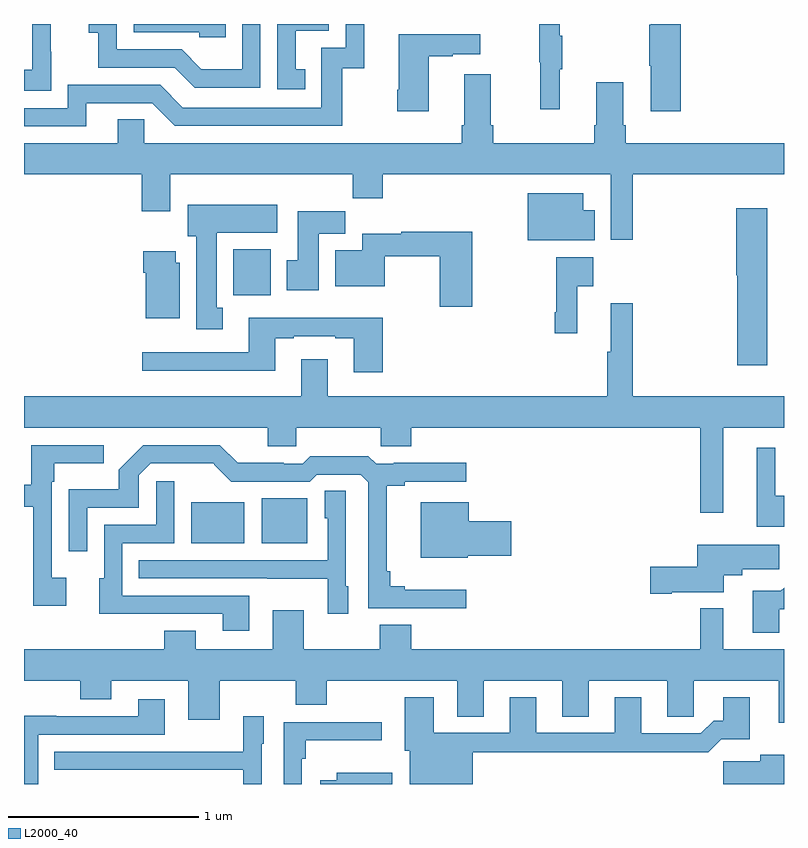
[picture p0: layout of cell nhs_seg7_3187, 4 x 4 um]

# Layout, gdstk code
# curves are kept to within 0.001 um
import gdstk
lib = gdstk.Library(unit=1e-6, precision=1e-09)
def R(c, l, rs):  # rectangles x0, y0, x1, y1
    for r in rs: c.add(gdstk.rectangle(r[:2], r[2:], *l))
def P(c, l, *ps):  # polygons
    for p in ps: c.add(gdstk.Polygon(p, *l))
L2000_40 = (2000, 40)

nhs_seg7_3187 = lib.new_cell('nhs_seg7_3187')
R(nhs_seg7_3187, L2000_40, [(313.88,1073.267,314.158,1073.482), (314.252,1073.267,314.491,1073.503), (314.102,1074.572,314.299,1074.814)])
P(nhs_seg7_3187, L2000_40, [(316.457,1076),(316.298,1076),(316.298,1075.997),(316.291,1075.997),(316.291,1075.78),(316.298,1075.78),(316.298,1075.542),(316.457,1075.542)],
  [(313.327,1075.584),(313.674,1075.584),(313.794,1075.464),(314.674,1075.464),(314.674,1075.767),(314.792,1075.767),(314.792,1076),(314.694,1076),(314.694,1075.875),(314.565,1075.875),(314.565,1075.56),(313.836,1075.56),(313.716,1075.68),(313.23,1075.68),(313.23,1075.557),(313,1075.557),(313,1075.461),(313.327,1075.461)],
  [(315.821,1075.763),(315.832,1075.763),(315.832,1075.937),(315.821,1075.937),(315.821,1076),(315.711,1076),(315.711,1075.8),(315.718,1075.8),(315.718,1075.551),(315.821,1075.551)],
  [(314.063,1076),(313.578,1076),(313.578,1075.956),(313.923,1075.956),(313.923,1075.929),(314.063,1075.929)],
  [(313.143,1075.855),(313.142,1075.855),(313.142,1076),(313.044,1076),(313.044,1075.988),(313.043,1075.988),(313.043,1075.759),(313,1075.759),(313,1075.649),(313.143,1075.649)],
  [(314.48,1075.761),(314.431,1075.761),(314.431,1075.965),(314.604,1075.965),(314.604,1076),(314.334,1076),(314.334,1075.656),(314.48,1075.656)],
  [(314.244,1076),(314.148,1076),(314.148,1075.762),(313.934,1075.762),(313.83,1075.866),(313.488,1075.866),(313.488,1076),(313.341,1076),(313.341,1075.955),(313.39,1075.955),(313.39,1075.77),(313.793,1075.77),(313.898,1075.665),(314.244,1075.665)],
  [(315.13,1075.831),(315.257,1075.831),(315.257,1075.841),(315.4,1075.841),(315.4,1075.945),(314.972,1075.945),(314.972,1075.654),(314.965,1075.654),(314.965,1075.542),(315.13,1075.542)],
  [(316.205,1075.208),(317,1075.208),(317,1075.372),(316.166,1075.372),(316.166,1075.468),(316.153,1075.468),(316.153,1075.693),(316.013,1075.693),(316.013,1075.468),(316.001,1075.468),(316.001,1075.372),(315.47,1075.372),(315.47,1075.468),(315.457,1075.468),(315.457,1075.735),(315.317,1075.735),(315.317,1075.468),(315.305,1075.468),(315.305,1075.372),(313.632,1075.372),(313.632,1075.499),(313.493,1075.499),(313.493,1075.372),(313,1075.372),(313,1075.208),(313.619,1075.208),(313.619,1075.014),(313.771,1075.014),(313.771,1075.208),(314.731,1075.208),(314.731,1075.084),(314.888,1075.084),(314.888,1075.208),(316.089,1075.208),(316.089,1074.864),(316.205,1074.864)],
  [(316.004,1075.021),(315.943,1075.021),(315.943,1075.108),(315.65,1075.108),(315.65,1074.863),(316.004,1074.863)],
  [(314.047,1074.506),(314.014,1074.506),(314.014,1074.902),(314.332,1074.902),(314.332,1075.048),(313.862,1075.048),(313.862,1074.882),(313.907,1074.882),(313.907,1074.393),(314.047,1074.393)],
  [(316.912,1075.03),(316.748,1075.03),(316.748,1074.678),(316.754,1074.678),(316.754,1074.204),(316.912,1074.204)],
  [(314.551,1074.896),(314.69,1074.896),(314.69,1075.015),(314.441,1075.015),(314.441,1074.756),(314.384,1074.756),(314.384,1074.6),(314.551,1074.6)],
  [(315.36,1074.907),(314.986,1074.907),(314.986,1074.896),(314.78,1074.896),(314.78,1074.808),(314.639,1074.808),(314.639,1074.62),(314.898,1074.62),(314.898,1074.778),(315.187,1074.778),(315.187,1074.513),(315.36,1074.513)],
  [(313.819,1074.744),(313.798,1074.744),(313.798,1074.805),(313.628,1074.805),(313.628,1074.692),(313.64,1074.692),(313.64,1074.452),(313.819,1074.452)],
  [(315.911,1074.62),(315.997,1074.62),(315.997,1074.772),(315.801,1074.772),(315.801,1074.484),(315.793,1074.484),(315.793,1074.372),(315.911,1074.372)],
  [(316.681,1073.876),(317,1073.876),(317,1074.04),(316.205,1074.04),(316.205,1074.529),(316.088,1074.529),(316.088,1074.276),(316.069,1074.276),(316.069,1074.04),(314.599,1074.04),(314.599,1074.235),(314.459,1074.235),(314.459,1074.04),(313,1074.04),(313,1073.876),(314.282,1073.876),(314.282,1073.778),(314.433,1073.778),(314.433,1073.876),(314.878,1073.876),(314.878,1073.778),(315.038,1073.778),(315.038,1073.876),(316.56,1073.876),(316.56,1073.427),(316.681,1073.427)],
  [(314.888,1074.454),(314.183,1074.454),(314.183,1074.273),(313.623,1074.273),(313.623,1074.176),(314.323,1074.176),(314.323,1074.345),(314.419,1074.345),(314.419,1074.357),(314.639,1074.357),(314.639,1074.345),(314.735,1074.345),(314.735,1074.168),(314.888,1074.168)],
  [(315.328,1073.023),(315.004,1073.023),(315.004,1073.042),(314.927,1073.042),(314.927,1073.119),(314.909,1073.119),(314.909,1073.57),(315.004,1073.57),(315.004,1073.592),(315.328,1073.592),(315.328,1073.69),(314.947,1073.69),(314.947,1073.685),(314.853,1073.685),(314.813,1073.725),(314.506,1073.725),(314.466,1073.685),(314.366,1073.685),(314.366,1073.69),(314.126,1073.69),(314.031,1073.784),(313.628,1073.784),(313.498,1073.654),(313.498,1073.551),(313.236,1073.551),(313.236,1073.226),(313.332,1073.226),(313.332,1073.454),(313.605,1073.454),(313.605,1073.625),(313.668,1073.688),(313.997,1073.687),(314.091,1073.592),(314.505,1073.592),(314.541,1073.628),(314.772,1073.628),(314.811,1073.589),(314.811,1072.926),(315.328,1072.926)],
  [(313.222,1073.086),(313.146,1073.086),(313.146,1073.591),(313.159,1073.591),(313.159,1073.687),(313.42,1073.687),(313.42,1073.784),(313.038,1073.784),(313.038,1073.576),(313,1073.576),(313,1073.46),(313.049,1073.46),(313.049,1072.938),(313.222,1072.938)],
  [(317,1073.518),(316.954,1073.518),(316.954,1073.77),(316.856,1073.77),(316.856,1073.354),(317,1073.354)],
  [(314.185,1072.992),(313.518,1072.992),(313.518,1073.268),(313.791,1073.268),(313.791,1073.593),(313.695,1073.593),(313.695,1073.364),(313.422,1073.364),(313.422,1073.082),(313.397,1073.082),(313.397,1072.895),(313.615,1072.895),(313.615,1072.896),(314.045,1072.896),(314.045,1072.806),(314.185,1072.806)],
  [(314.707,1073.04),(314.694,1073.04),(314.694,1073.543),(314.582,1073.543),(314.582,1073.4),(314.598,1073.4),(314.598,1073.178),(313.603,1073.178),(313.603,1073.082),(314.281,1073.082),(314.281,1073.081),(314.598,1073.081),(314.598,1072.896),(314.707,1072.896)],
  [(315.336,1073.201),(315.565,1073.201),(315.565,1073.384),(315.34,1073.384),(315.34,1073.482),(315.089,1073.482),(315.089,1073.192),(315.336,1073.192)],
  [(316.408,1073.009),(316.684,1073.009),(316.684,1073.099),(316.78,1073.099),(316.78,1073.131),(316.975,1073.131),(316.975,1073.26),(316.544,1073.26),(316.544,1073.144),(316.296,1073.144),(316.296,1073.002),(316.408,1073.002)],
  [(316.975,1072.919),(317,1072.919),(317,1073.033),(316.984,1073.017),(316.835,1073.017),(316.835,1072.797),(316.975,1072.797)],
  [(317,1072.708),(316.681,1072.708),(316.681,1072.924),(316.56,1072.924),(316.56,1072.708),(315.037,1072.708),(315.037,1072.837),(314.873,1072.837),(314.873,1072.708),(314.473,1072.708),(314.473,1072.915),(314.309,1072.915),(314.309,1072.708),(313.903,1072.708),(313.903,1072.807),(313.739,1072.807),(313.739,1072.708),(313,1072.708),(313,1072.544),(313.295,1072.544),(313.295,1072.445),(313.459,1072.445),(313.459,1072.544),(313.865,1072.544),(313.865,1072.338),(314.029,1072.338),(314.029,1072.544),(314.429,1072.544),(314.429,1072.416),(314.593,1072.416),(314.593,1072.544),(315.281,1072.544),(315.281,1072.354),(315.421,1072.354),(315.421,1072.544),(315.833,1072.544),(315.833,1072.354),(315.973,1072.354),(315.973,1072.544),(316.385,1072.544),(316.385,1072.354),(316.524,1072.354),(316.524,1072.544),(316.973,1072.544),(316.973,1072.323),(317,1072.323)],
  [(315.361,1072.168),(316.345,1072.168),(316.345,1072.166),(316.601,1072.166),(316.67,1072.235),(316.819,1072.235),(316.819,1072.456),(316.679,1072.456),(316.679,1072.333),(316.63,1072.333),(316.563,1072.266),(316.249,1072.266),(316.249,1072.456),(316.109,1072.456),(316.109,1072.269),(315.697,1072.269),(315.697,1072.456),(315.557,1072.456),(315.557,1072.269),(315.157,1072.269),(315.157,1072.456),(315.005,1072.456),(315.005,1072.176),(315.029,1072.176),(315.029,1072),(315.361,1072)],
  [(313.074,1072.26),(313.741,1072.26),(313.741,1072.447),(313.601,1072.447),(313.601,1072.356),(313.171,1072.356),(313.171,1072.358),(313,1072.358),(313,1072),(313.074,1072)],
  [(314.25,1072.212),(314.263,1072.212),(314.263,1072.357),(314.154,1072.357),(314.154,1072.171),(313.837,1072.171),(313.837,1072.17),(313.159,1072.17),(313.159,1072.074),(314.154,1072.074),(314.154,1072),(314.25,1072)],
  [(314.463,1072.133),(314.483,1072.133),(314.483,1072.229),(314.884,1072.229),(314.884,1072.326),(314.367,1072.326),(314.367,1072),(314.463,1072)],
  [(317,1072.153),(316.874,1072.153),(316.874,1072.121),(316.68,1072.121),(316.68,1072),(317,1072)],
  [(314.938,1072.06),(314.645,1072.06),(314.645,1072.021),(314.558,1072.021),(314.558,1072),(314.938,1072)])

lib.write_gds('nhs_seg7_3187.gds')
